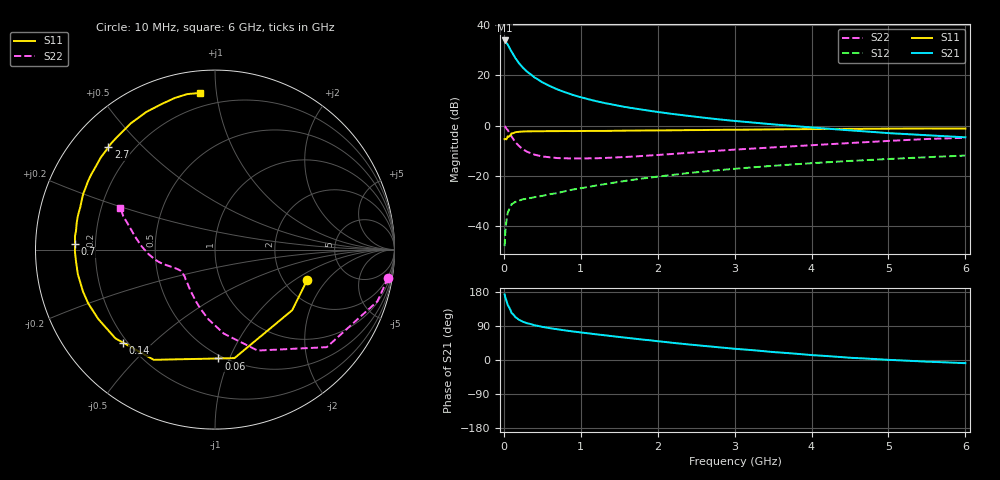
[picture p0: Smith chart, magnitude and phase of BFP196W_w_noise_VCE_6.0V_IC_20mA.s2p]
! Infineon Technologies  Discrete & RF Semiconductors
! BFP196W
! VCE =  6.0 V,  IC =  20 mA
! Common Emitter S-Parameters:  Jan 2017
# GHz  S  MA  R  50
!  f  S11  S21  S12  S22
! GHz  MAG  ANG  MAG  ANG  MAG  ANG  MAG  ANG
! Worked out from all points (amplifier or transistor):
!   77 points, 10 MHz to 6 GHz, reference 50 ohm
!   highest |S21| = 33.9 dB at 10 MHz (marker M1)
!   |S21| within 3 dB of that: start of sweep to 74.22 MHz
!   unconditionally stable (mu >= 1): 1.017 GHz to 3.202 GHz
!   at 130 MHz: K = 0.24, MSG = 29.4 dB, |S12| = -30.7 dB
!   at 2.2 GHz: K = 1.06, MAG = 10.6 dB, |S12| = -19.6 dB
!   at 6 GHz: K = 0.90, MSG = 3.6 dB, |S12| = -11.9 dB
!   lowest NFmin = 1.02 dB at 450 MHz
!   S11 on the Smith chart (normalised r, x): 10 MHz: 2.65, -1.28; 60 MHz: 0.48, -0.91; 140 MHz: 0.18, -0.41; 700 MHz: 0.12, +0.02; 2.7 GHz: 0.11, +0.40; 6 GHz: 0.12, +0.90
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0.01  0.5404 -18.5  49.77 172.9  0.004 81.6  0.9781 -9.2
0.02  0.5468 -38.1  48.19 164.6  0.008 78.2  0.9494 -17.7
0.05  0.6143 -79.8  41.45 145.1  0.0185 57.9  0.8266 -41.1
0.06  0.6068 -88.2  38.79 142.0  0.0201 54.2  0.7729 -45.1
0.1  0.7023 -119.0  29.77 124.4  0.0272 44.1  0.6106 -67.1
0.14  0.7287 -134.6  23.6 115.9  0.0298 37.6  0.4946 -79.9
0.15  0.7433 -138.3  22.16 113.1  0.0305 36.2  0.4706 -84.0
0.2  0.7569 -149.4  17.35 105.9  0.0323 34.4  0.3906 -95.3
0.25  0.7675 -157.1  14.18 100.8  0.0344 33.2  0.3383 -104.0
0.3  0.7718 -162.4  11.96 97.2  0.0352 33.2  0.3043 -110.9
0.4  0.7763 -169.8  9.108 91.6  0.0378 35.1  0.2651 -121.3
0.5  0.777 -175.0  7.319 87.5  0.0402 38.2  0.2444 -128.5
0.7  0.7807 177.8  5.253 81.0  0.0457 42.9  0.2266 -137.9
0.9  0.7815 171.9  4.086 75.3  0.0537 46.6  0.2235 -143.2
1.1  0.7863 167.1  3.364 70.3  0.0605 49.8  0.2242 -146.9
1.5  0.7945 158.5  2.479 60.8  0.0763 52.4  0.2357 -152.4
2.1  0.808 146.6  1.792 47.5  0.1011 52.9  0.2678 -159.6
2.7  0.8237 136.1  1.389 35.4  0.1263 50.8  0.3116 -166.3
3.1  0.8328 129.7  1.207 28.1  0.1429 48.6  0.341 -171.2
4.1  0.8577 115.1  0.899 11.7  0.1832 42.2  0.4171 176.0
5.1  0.8747 104.0  0.698 -0.5  0.221 34.9  0.5068 163.5
6  0.8771 95.4  0.587 -8.4  0.2546 27.9  0.5751 156.3
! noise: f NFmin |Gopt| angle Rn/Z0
0.45  1.02  0.4  170  0.05
0.9  1.2  0.51  178  0.05
1.9  2.11  0.69  -155  0.11
2.4  2.55  0.74  -147  0.2
